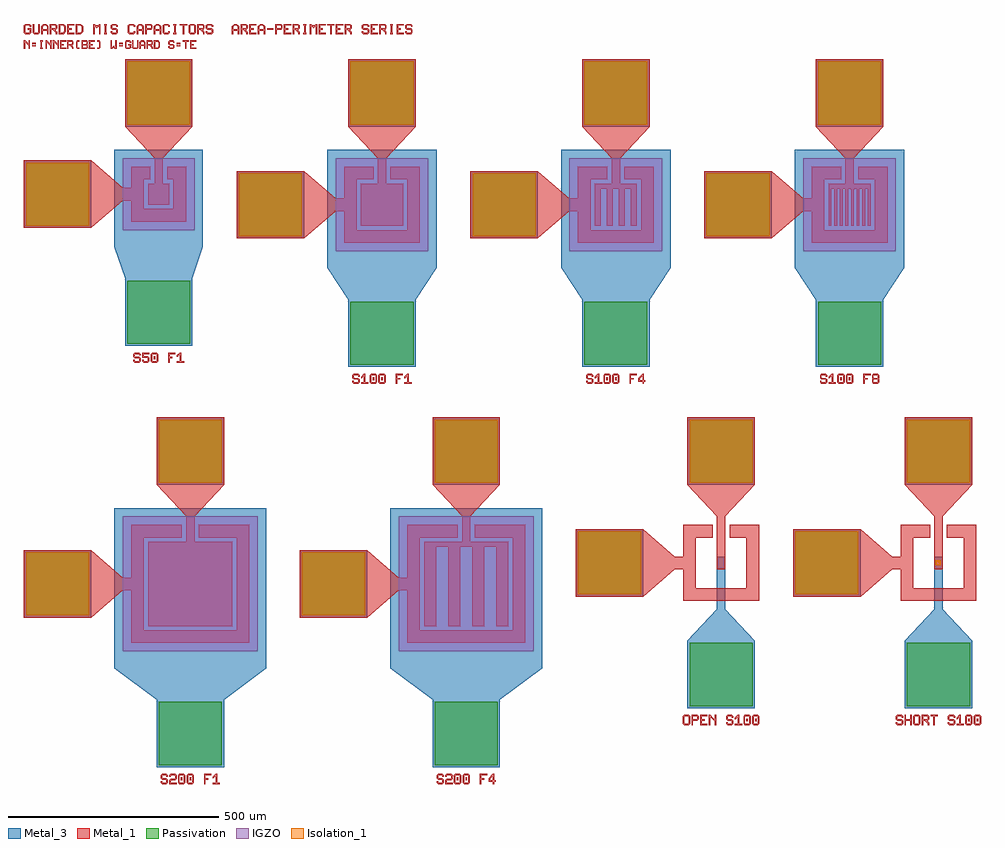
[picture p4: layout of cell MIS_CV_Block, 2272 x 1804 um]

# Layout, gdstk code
import gdstk
lib = gdstk.Library(unit=1e-6, precision=1e-09)
def R(c, l, rs):  # rectangles x0, y0, x1, y1
    for r in rs: c.add(gdstk.rectangle(r[:2], r[2:], *l))
def A(c, l, x, y, w, h, nx, ny, dx, dy):  # array of equal rectangles
    R(c, l, [(x+i*dx, y+j*dy, x+i*dx+w, y+j*dy+h) for i in range(nx) for j in range(ny)])
def P(c, l, *ps):  # polygons
    for p in ps: c.add(gdstk.Polygon(p, *l))
Metal_1 = (1, 0)
Isolation_1 = (2, 0)
IGZO = (4, 0)
Metal_3 = (5, 0)
Passivation = (6, 0)

misv2_s50_f1 = lib.new_cell('MISv2_S50_F1')
R(misv2_s50_f1, Metal_1, [(-12,-391.429,-8.571,-384.571), (-320,-80,-160,80), (-65,-65,65,-35), (-65,-35,-35,35), (35,-35,65,35), (-25,-25,25,25), (-85,-15,-65,15), (-10,25,10,85), (-65,35,-20,65), (20,35,65,65), (-80,160,80,320)])
P(misv2_s50_f1, Metal_1, [(-160,-80),(-160,80),(-85,15),(-85,-15)],
  [(-10,85),(-80,160),(80,160),(10,85)],
  [(-56.57,-400),(-59.999,-396.571),(-59.999,-393.143),(-56.57,-393.143),(-56.57,-394.857),(-54.856,-396.571),(-47.999,-396.571),(-46.285,-394.857),(-46.285,-391.429),(-47.999,-389.714),(-56.57,-389.714),(-59.999,-386.286),(-59.999,-379.429),(-56.57,-376),(-46.285,-376),(-42.856,-379.429),(-42.856,-382.857),(-46.285,-382.857),(-46.285,-381.143),(-47.999,-379.429),(-54.856,-379.429),(-56.57,-381.143),(-56.57,-384.571),(-54.856,-386.286),(-46.285,-386.286),(-42.856,-389.714),(-42.856,-396.571),(-46.285,-400)],
  [(-35.999,-400),(-39.428,-396.571),(-39.428,-393.143),(-35.999,-393.143),(-35.999,-394.857),(-34.285,-396.571),(-27.428,-396.571),(-25.714,-394.857),(-25.714,-389.714),(-27.428,-388),(-39.428,-388),(-39.428,-376),(-22.285,-376),(-22.285,-379.429),(-35.999,-379.429),(-35.999,-384.571),(-25.714,-384.571),(-22.285,-388),(-22.285,-396.571),(-25.714,-400)],
  [(-15.428,-400),(-18.857,-396.571),(-18.857,-379.429),(-15.428,-376),(-5.143,-376),(-1.714,-379.429),(-13.714,-379.429),(-15.428,-381.143),(-15.428,-394.857),(-13.714,-396.571),(-6.857,-396.571),(-5.143,-394.857),(-5.143,-381.143),(-6.857,-379.429),(-1.714,-379.429),(-1.714,-396.571),(-5.143,-400)],
  [(22.285,-400),(22.285,-376),(39.428,-376),(39.428,-379.429),(25.714,-379.429),(25.714,-386.286),(32.571,-386.286),(32.571,-389.714),(25.714,-389.714),(25.714,-400)],
  [(42.856,-400),(42.856,-396.571),(49.713,-396.571),(49.713,-382.857),(47.999,-382.857),(44.57,-386.286),(42.856,-386.286),(42.856,-382.857),(49.713,-376),(53.142,-376),(53.142,-396.571),(59.999,-396.571),(59.999,-400)])
R(misv2_s50_f1, Isolation_1, [(-315,-75,-165,75), (-75,165,75,315)])
R(misv2_s50_f1, IGZO, [(-85,-85,85,85)])
R(misv2_s50_f1, Metal_3, [(-80,-360,80,-200), (-105,-125,105,-105), (-105,-105,105,105), (-320,-80,-160,80), (-80,160,80,320)])
P(misv2_s50_f1, Metal_3, [(-80,-200),(-105,-125),(105,-125),(80,-200)])
R(misv2_s50_f1, Passivation, [(-75,-355,75,-205), (-315,-75,-165,75), (-75,165,75,315)])

misv2_s200_f4 = lib.new_cell('MISv2_S200_F4')
A(misv2_s200_f4, Metal_1, -100, -100, 28.571, 188, 4, 1, 57.143, 0)
R(misv2_s200_f4, Metal_1, [(-22.285,-466.429,-18.856,-459.571), (-1.714,-466.429,1.715,-459.571), (-140,-140,140,-110), (-140,-110,-110,110), (110,-110,140,110), (-395,-80,-235,80), (-160,-15,-140,15), (-100,88,100,100), (-10,100,10,160), (-140,110,-20,140), (20,110,140,140), (-80,235,80,395)])
P(misv2_s200_f4, Metal_1, [(-235,-80),(-235,80),(-160,15),(-160,-15)],
  [(-10,160),(-80,235),(80,235),(10,160)],
  [(-66.855,-475),(-70.284,-471.571),(-70.284,-468.143),(-66.855,-468.143),(-66.855,-469.857),(-65.141,-471.571),(-58.284,-471.571),(-56.57,-469.857),(-56.57,-466.429),(-58.284,-464.714),(-66.855,-464.714),(-70.284,-461.286),(-70.284,-454.429),(-66.855,-451),(-56.57,-451),(-53.141,-454.429),(-53.141,-457.857),(-56.57,-457.857),(-56.57,-456.143),(-58.284,-454.429),(-65.141,-454.429),(-66.855,-456.143),(-66.855,-459.571),(-65.141,-461.286),(-56.57,-461.286),(-53.141,-464.714),(-53.141,-471.571),(-56.57,-475)],
  [(-49.713,-475),(-49.713,-466.429),(-46.284,-463),(-37.713,-463),(-35.999,-461.286),(-35.999,-456.143),(-37.713,-454.429),(-44.57,-454.429),(-46.284,-456.143),(-46.284,-457.857),(-49.713,-457.857),(-49.713,-454.429),(-46.284,-451),(-35.999,-451),(-32.57,-454.429),(-32.57,-463),(-35.999,-466.429),(-44.57,-466.429),(-46.284,-468.143),(-46.284,-471.571),(-32.57,-471.571),(-32.57,-475)],
  [(-25.713,-475),(-29.142,-471.571),(-29.142,-454.429),(-25.713,-451),(-15.428,-451),(-11.999,-454.429),(-23.999,-454.429),(-25.713,-456.143),(-25.713,-469.857),(-23.999,-471.571),(-17.142,-471.571),(-15.428,-469.857),(-15.428,-456.143),(-17.142,-454.429),(-11.999,-454.429),(-11.999,-471.571),(-15.428,-475)],
  [(-5.142,-475),(-8.571,-471.571),(-8.571,-454.429),(-5.142,-451),(5.143,-451),(8.572,-454.429),(-3.428,-454.429),(-5.142,-456.143),(-5.142,-469.857),(-3.428,-471.571),(3.429,-471.571),(5.143,-469.857),(5.143,-456.143),(3.429,-454.429),(8.572,-454.429),(8.572,-471.571),(5.143,-475)],
  [(32.571,-475),(32.571,-451),(49.714,-451),(49.714,-454.429),(36,-454.429),(36,-461.286),(42.857,-461.286),(42.857,-464.714),(36,-464.714),(36,-475)],
  [(63.428,-475),(63.428,-469.857),(53.142,-469.857),(53.142,-466.429),(63.428,-466.429),(63.428,-457.857),(61.713,-457.857),(56.571,-463),(56.571,-466.429),(53.142,-466.429),(53.142,-461.286),(63.428,-451),(66.856,-451),(66.856,-466.429),(70.285,-466.429),(70.285,-469.857),(66.856,-469.857),(66.856,-475)])
R(misv2_s200_f4, Isolation_1, [(-390,-75,-240,75), (-75,240,75,390)])
R(misv2_s200_f4, IGZO, [(-160,-160,160,160)])
R(misv2_s200_f4, Metal_3, [(-80,-435,80,-275), (-180,-200,180,-180), (-180,-180,180,180), (-395,-80,-235,80), (-80,235,80,395)])
P(misv2_s200_f4, Metal_3, [(-80,-275),(-180,-200),(180,-200),(80,-275)])
R(misv2_s200_f4, Passivation, [(-75,-430,75,-280), (-390,-75,-240,75), (-75,240,75,390)])

misv2_s100_f1 = lib.new_cell('MISv2_S100_F1')
R(misv2_s100_f1, Metal_1, [(-22.285,-416.429,-18.856,-409.571), (-1.714,-416.429,1.715,-409.571), (-90,-90,90,-60), (-345,-80,-185,80), (-90,-60,-60,60), (60,-60,90,60), (-50,-50,50,50), (-110,-15,-90,15), (-10,50,10,110), (-90,60,-20,90), (20,60,90,90), (-80,185,80,345)])
P(misv2_s100_f1, Metal_1, [(-49.713,-425),(-49.713,-421.571),(-42.856,-421.571),(-42.856,-407.857),(-44.57,-407.857),(-47.999,-411.286),(-49.713,-411.286),(-49.713,-407.857),(-42.856,-401),(-39.427,-401),(-39.427,-421.571),(-32.57,-421.571),(-32.57,-425)],
  [(53.142,-425),(53.142,-421.571),(59.999,-421.571),(59.999,-407.857),(58.285,-407.857),(54.856,-411.286),(53.142,-411.286),(53.142,-407.857),(59.999,-401),(63.428,-401),(63.428,-421.571),(70.285,-421.571),(70.285,-425)],
  [(-185,-80),(-185,80),(-110,15),(-110,-15)],
  [(-10,110),(-80,185),(80,185),(10,110)],
  [(-66.855,-425),(-70.284,-421.571),(-70.284,-418.143),(-66.855,-418.143),(-66.855,-419.857),(-65.141,-421.571),(-58.284,-421.571),(-56.57,-419.857),(-56.57,-416.429),(-58.284,-414.714),(-66.855,-414.714),(-70.284,-411.286),(-70.284,-404.429),(-66.855,-401),(-56.57,-401),(-53.141,-404.429),(-53.141,-407.857),(-56.57,-407.857),(-56.57,-406.143),(-58.284,-404.429),(-65.141,-404.429),(-66.855,-406.143),(-66.855,-409.571),(-65.141,-411.286),(-56.57,-411.286),(-53.141,-414.714),(-53.141,-421.571),(-56.57,-425)],
  [(-25.713,-425),(-29.142,-421.571),(-29.142,-404.429),(-25.713,-401),(-15.428,-401),(-11.999,-404.429),(-23.999,-404.429),(-25.713,-406.143),(-25.713,-419.857),(-23.999,-421.571),(-17.142,-421.571),(-15.428,-419.857),(-15.428,-406.143),(-17.142,-404.429),(-11.999,-404.429),(-11.999,-421.571),(-15.428,-425)],
  [(-5.142,-425),(-8.571,-421.571),(-8.571,-404.429),(-5.142,-401),(5.143,-401),(8.572,-404.429),(-3.428,-404.429),(-5.142,-406.143),(-5.142,-419.857),(-3.428,-421.571),(3.429,-421.571),(5.143,-419.857),(5.143,-406.143),(3.429,-404.429),(8.572,-404.429),(8.572,-421.571),(5.143,-425)],
  [(32.571,-425),(32.571,-401),(49.714,-401),(49.714,-404.429),(36,-404.429),(36,-411.286),(42.857,-411.286),(42.857,-414.714),(36,-414.714),(36,-425)])
R(misv2_s100_f1, Isolation_1, [(-340,-75,-190,75), (-75,190,75,340)])
R(misv2_s100_f1, IGZO, [(-110,-110,110,110)])
R(misv2_s100_f1, Metal_3, [(-80,-385,80,-225), (-130,-150,130,-130), (-130,-130,130,130), (-345,-80,-185,80), (-80,185,80,345)])
P(misv2_s100_f1, Metal_3, [(-80,-225),(-130,-150),(130,-150),(80,-225)])
R(misv2_s100_f1, Passivation, [(-75,-380,75,-230), (-340,-75,-190,75), (-75,190,75,340)])

misv2_open_s100 = lib.new_cell('MISv2_OPEN_S100')
R(misv2_open_s100, Metal_1, [(59.998,-376.429,63.427,-369.571), (80.569,-376.429,83.998,-369.571), (-90,-90,90,-60), (-345,-80,-185,80), (-90,-60,-60,60), (60,-60,90,60), (-110,-15,-90,15), (-10,-15,10,15), (-10,0,10,110), (-90,60,-20,90), (20,60,90,90), (-80,185,80,345)])
P(misv2_open_s100, Metal_1, [(-29.143,-385),(-29.143,-361),(-25.714,-361),(-17.143,-369.571),(-15.429,-369.571),(-15.429,-361),(-12,-361),(-12,-385),(-15.429,-385),(-15.429,-376.429),(-24,-367.857),(-25.714,-367.857),(-25.714,-385)],
  [(-70.285,-385),(-70.285,-361),(-56.571,-361),(-53.142,-364.429),(-53.142,-371.286),(-56.571,-374.714),(-66.856,-374.714),(-66.856,-371.286),(-58.285,-371.286),(-56.571,-369.571),(-56.571,-366.143),(-58.285,-364.429),(-66.856,-364.429),(-66.856,-385)],
  [(-87.427,-385),(-90.856,-381.571),(-90.856,-364.429),(-87.427,-361),(-77.142,-361),(-73.713,-364.429),(-73.713,-373),(-77.142,-373),(-77.142,-366.143),(-78.856,-364.429),(-85.713,-364.429),(-87.427,-366.143),(-87.427,-379.857),(-85.713,-381.571),(-78.856,-381.571),(-77.142,-379.857),(-77.142,-373),(-73.713,-373),(-73.713,-381.571),(-77.142,-385)],
  [(-185,-80),(-185,80),(-110,15),(-110,-15)],
  [(-49.714,-385),(-49.714,-361),(-32.571,-361),(-32.571,-364.429),(-46.285,-364.429),(-46.285,-371.286),(-39.428,-371.286),(-39.428,-374.714),(-46.285,-374.714),(-46.285,-381.571),(-32.571,-381.571),(-32.571,-385)],
  [(-10,110),(-80,185),(80,185),(10,110)],
  [(15.428,-385),(11.999,-381.571),(11.999,-378.143),(15.428,-378.143),(15.428,-379.857),(17.142,-381.571),(23.999,-381.571),(25.713,-379.857),(25.713,-376.429),(23.999,-374.714),(15.428,-374.714),(11.999,-371.286),(11.999,-364.429),(15.428,-361),(25.713,-361),(29.142,-364.429),(29.142,-367.857),(25.713,-367.857),(25.713,-366.143),(23.999,-364.429),(17.142,-364.429),(15.428,-366.143),(15.428,-369.571),(17.142,-371.286),(25.713,-371.286),(29.142,-374.714),(29.142,-381.571),(25.713,-385)],
  [(32.57,-385),(32.57,-381.571),(39.427,-381.571),(39.427,-367.857),(37.713,-367.857),(34.284,-371.286),(32.57,-371.286),(32.57,-367.857),(39.427,-361),(42.856,-361),(42.856,-381.571),(49.713,-381.571),(49.713,-385)],
  [(56.57,-385),(53.141,-381.571),(53.141,-364.429),(56.57,-361),(66.855,-361),(70.284,-364.429),(58.284,-364.429),(56.57,-366.143),(56.57,-379.857),(58.284,-381.571),(65.141,-381.571),(66.855,-379.857),(66.855,-366.143),(65.141,-364.429),(70.284,-364.429),(70.284,-381.571),(66.855,-385)],
  [(77.141,-385),(73.712,-381.571),(73.712,-364.429),(77.141,-361),(87.426,-361),(90.855,-364.429),(78.855,-364.429),(77.141,-366.143),(77.141,-379.857),(78.855,-381.571),(85.712,-381.571),(87.426,-379.857),(87.426,-366.143),(85.712,-364.429),(90.855,-364.429),(90.855,-381.571),(87.426,-385)])
R(misv2_open_s100, Isolation_1, [(-340,-75,-190,75), (-75,190,75,340)])
R(misv2_open_s100, Metal_3, [(-80,-345,80,-185), (-10,-110,10,0), (-345,-80,-185,80), (-10,-15,10,15), (-80,185,80,345)])
P(misv2_open_s100, Metal_3, [(-80,-185),(-10,-110),(10,-110),(80,-185)])
R(misv2_open_s100, Passivation, [(-75,-340,75,-190), (-340,-75,-190,75), (-75,190,75,340)])

misv2_s100_f4 = lib.new_cell('MISv2_S100_F4')
R(misv2_s100_f4, Metal_1, [(-22.285,-416.429,-18.856,-409.571), (-1.714,-416.429,1.715,-409.571), (-90,-90,90,-60), (-345,-80,-185,80), (-90,-60,-60,60), (60,-60,90,60), (-50,-50,-35.714,38), (-21.429,-50,-7.143,38), (7.143,-50,21.429,38), (35.714,-50,50,38), (-110,-15,-90,15), (-50,38,50,50), (-10,50,10,110), (-90,60,-20,90), (20,60,90,90), (-80,185,80,345)])
P(misv2_s100_f4, Metal_1, [(-49.713,-425),(-49.713,-421.571),(-42.856,-421.571),(-42.856,-407.857),(-44.57,-407.857),(-47.999,-411.286),(-49.713,-411.286),(-49.713,-407.857),(-42.856,-401),(-39.427,-401),(-39.427,-421.571),(-32.57,-421.571),(-32.57,-425)],
  [(-185,-80),(-185,80),(-110,15),(-110,-15)],
  [(-10,110),(-80,185),(80,185),(10,110)],
  [(-66.855,-425),(-70.284,-421.571),(-70.284,-418.143),(-66.855,-418.143),(-66.855,-419.857),(-65.141,-421.571),(-58.284,-421.571),(-56.57,-419.857),(-56.57,-416.429),(-58.284,-414.714),(-66.855,-414.714),(-70.284,-411.286),(-70.284,-404.429),(-66.855,-401),(-56.57,-401),(-53.141,-404.429),(-53.141,-407.857),(-56.57,-407.857),(-56.57,-406.143),(-58.284,-404.429),(-65.141,-404.429),(-66.855,-406.143),(-66.855,-409.571),(-65.141,-411.286),(-56.57,-411.286),(-53.141,-414.714),(-53.141,-421.571),(-56.57,-425)],
  [(-25.713,-425),(-29.142,-421.571),(-29.142,-404.429),(-25.713,-401),(-15.428,-401),(-11.999,-404.429),(-23.999,-404.429),(-25.713,-406.143),(-25.713,-419.857),(-23.999,-421.571),(-17.142,-421.571),(-15.428,-419.857),(-15.428,-406.143),(-17.142,-404.429),(-11.999,-404.429),(-11.999,-421.571),(-15.428,-425)],
  [(-5.142,-425),(-8.571,-421.571),(-8.571,-404.429),(-5.142,-401),(5.143,-401),(8.572,-404.429),(-3.428,-404.429),(-5.142,-406.143),(-5.142,-419.857),(-3.428,-421.571),(3.429,-421.571),(5.143,-419.857),(5.143,-406.143),(3.429,-404.429),(8.572,-404.429),(8.572,-421.571),(5.143,-425)],
  [(32.571,-425),(32.571,-401),(49.714,-401),(49.714,-404.429),(36,-404.429),(36,-411.286),(42.857,-411.286),(42.857,-414.714),(36,-414.714),(36,-425)],
  [(63.428,-425),(63.428,-419.857),(53.142,-419.857),(53.142,-416.429),(63.428,-416.429),(63.428,-407.857),(61.713,-407.857),(56.571,-413),(56.571,-416.429),(53.142,-416.429),(53.142,-411.286),(63.428,-401),(66.856,-401),(66.856,-416.429),(70.285,-416.429),(70.285,-419.857),(66.856,-419.857),(66.856,-425)])
R(misv2_s100_f4, Isolation_1, [(-340,-75,-190,75), (-75,190,75,340)])
R(misv2_s100_f4, IGZO, [(-110,-110,110,110)])
R(misv2_s100_f4, Metal_3, [(-80,-385,80,-225), (-130,-150,130,-130), (-130,-130,130,130), (-345,-80,-185,80), (-80,185,80,345)])
P(misv2_s100_f4, Metal_3, [(-80,-225),(-130,-150),(130,-150),(80,-225)])
R(misv2_s100_f4, Passivation, [(-75,-380,75,-230), (-340,-75,-190,75), (-75,190,75,340)])

misv2_s100_f8 = lib.new_cell('MISv2_S100_F8')
R(misv2_s100_f8, Metal_1, [(-22.285,-416.429,-18.856,-409.571), (-1.714,-416.429,1.715,-409.571), (-90,-90,90,-60), (-345,-80,-185,80), (-90,-60,-60,60), (60,-60,90,60), (-50,-50,-43.333,38), (-36.667,-50,-30,38), (-23.333,-50,-16.667,38), (-10,-50,-3.333,38), (3.333,-50,10,38), (16.667,-50,23.333,38), (30,-50,36.667,38), (43.333,-50,50,38), (-110,-15,-90,15), (-50,38,50,50), (-10,50,10,110), (-90,60,-20,90), (20,60,90,90), (-80,185,80,345)])
P(misv2_s100_f8, Metal_1, [(-49.713,-425),(-49.713,-421.571),(-42.856,-421.571),(-42.856,-407.857),(-44.57,-407.857),(-47.999,-411.286),(-49.713,-411.286),(-49.713,-407.857),(-42.856,-401),(-39.427,-401),(-39.427,-421.571),(-32.57,-421.571),(-32.57,-425)],
  [(-185,-80),(-185,80),(-110,15),(-110,-15)],
  [(-10,110),(-80,185),(80,185),(10,110)],
  [(-66.855,-425),(-70.284,-421.571),(-70.284,-418.143),(-66.855,-418.143),(-66.855,-419.857),(-65.141,-421.571),(-58.284,-421.571),(-56.57,-419.857),(-56.57,-416.429),(-58.284,-414.714),(-66.855,-414.714),(-70.284,-411.286),(-70.284,-404.429),(-66.855,-401),(-56.57,-401),(-53.141,-404.429),(-53.141,-407.857),(-56.57,-407.857),(-56.57,-406.143),(-58.284,-404.429),(-65.141,-404.429),(-66.855,-406.143),(-66.855,-409.571),(-65.141,-411.286),(-56.57,-411.286),(-53.141,-414.714),(-53.141,-421.571),(-56.57,-425)],
  [(-25.713,-425),(-29.142,-421.571),(-29.142,-404.429),(-25.713,-401),(-15.428,-401),(-11.999,-404.429),(-23.999,-404.429),(-25.713,-406.143),(-25.713,-419.857),(-23.999,-421.571),(-17.142,-421.571),(-15.428,-419.857),(-15.428,-406.143),(-17.142,-404.429),(-11.999,-404.429),(-11.999,-421.571),(-15.428,-425)],
  [(-5.142,-425),(-8.571,-421.571),(-8.571,-404.429),(-5.142,-401),(5.143,-401),(8.572,-404.429),(-3.428,-404.429),(-5.142,-406.143),(-5.142,-419.857),(-3.428,-421.571),(3.429,-421.571),(5.143,-419.857),(5.143,-406.143),(3.429,-404.429),(8.572,-404.429),(8.572,-421.571),(5.143,-425)],
  [(32.571,-425),(32.571,-401),(49.714,-401),(49.714,-404.429),(36,-404.429),(36,-411.286),(42.857,-411.286),(42.857,-414.714),(36,-414.714),(36,-425)],
  [(56.571,-425),(53.142,-421.571),(53.142,-414.714),(54.856,-413),(53.142,-411.286),(53.142,-404.429),(56.571,-401),(66.856,-401),(70.285,-404.429),(58.285,-404.429),(56.571,-406.143),(56.571,-409.571),(58.285,-411.286),(65.142,-411.286),(66.856,-409.571),(66.856,-406.143),(65.142,-404.429),(70.285,-404.429),(70.285,-411.286),(68.571,-413),(70.285,-414.714),(58.285,-414.714),(56.571,-416.429),(56.571,-419.857),(58.285,-421.571),(65.142,-421.571),(66.856,-419.857),(66.856,-416.429),(65.142,-414.714),(70.285,-414.714),(70.285,-421.571),(66.856,-425)])
R(misv2_s100_f8, Isolation_1, [(-340,-75,-190,75), (-75,190,75,340)])
R(misv2_s100_f8, IGZO, [(-110,-110,110,110)])
R(misv2_s100_f8, Metal_3, [(-80,-385,80,-225), (-130,-150,130,-130), (-130,-130,130,130), (-345,-80,-185,80), (-80,185,80,345)])
P(misv2_s100_f8, Metal_3, [(-80,-225),(-130,-150),(130,-150),(80,-225)])
R(misv2_s100_f8, Passivation, [(-75,-380,75,-230), (-340,-75,-190,75), (-75,190,75,340)])

misv2_s200_f1 = lib.new_cell('MISv2_S200_F1')
R(misv2_s200_f1, Metal_1, [(-22.285,-466.429,-18.856,-459.571), (-1.714,-466.429,1.715,-459.571), (-140,-140,140,-110), (-140,-110,-110,110), (110,-110,140,110), (-100,-100,100,100), (-395,-80,-235,80), (-160,-15,-140,15), (-10,100,10,160), (-140,110,-20,140), (20,110,140,140), (-80,235,80,395)])
P(misv2_s200_f1, Metal_1, [(-235,-80),(-235,80),(-160,15),(-160,-15)],
  [(-10,160),(-80,235),(80,235),(10,160)],
  [(-66.855,-475),(-70.284,-471.571),(-70.284,-468.143),(-66.855,-468.143),(-66.855,-469.857),(-65.141,-471.571),(-58.284,-471.571),(-56.57,-469.857),(-56.57,-466.429),(-58.284,-464.714),(-66.855,-464.714),(-70.284,-461.286),(-70.284,-454.429),(-66.855,-451),(-56.57,-451),(-53.141,-454.429),(-53.141,-457.857),(-56.57,-457.857),(-56.57,-456.143),(-58.284,-454.429),(-65.141,-454.429),(-66.855,-456.143),(-66.855,-459.571),(-65.141,-461.286),(-56.57,-461.286),(-53.141,-464.714),(-53.141,-471.571),(-56.57,-475)],
  [(-49.713,-475),(-49.713,-466.429),(-46.284,-463),(-37.713,-463),(-35.999,-461.286),(-35.999,-456.143),(-37.713,-454.429),(-44.57,-454.429),(-46.284,-456.143),(-46.284,-457.857),(-49.713,-457.857),(-49.713,-454.429),(-46.284,-451),(-35.999,-451),(-32.57,-454.429),(-32.57,-463),(-35.999,-466.429),(-44.57,-466.429),(-46.284,-468.143),(-46.284,-471.571),(-32.57,-471.571),(-32.57,-475)],
  [(-25.713,-475),(-29.142,-471.571),(-29.142,-454.429),(-25.713,-451),(-15.428,-451),(-11.999,-454.429),(-23.999,-454.429),(-25.713,-456.143),(-25.713,-469.857),(-23.999,-471.571),(-17.142,-471.571),(-15.428,-469.857),(-15.428,-456.143),(-17.142,-454.429),(-11.999,-454.429),(-11.999,-471.571),(-15.428,-475)],
  [(-5.142,-475),(-8.571,-471.571),(-8.571,-454.429),(-5.142,-451),(5.143,-451),(8.572,-454.429),(-3.428,-454.429),(-5.142,-456.143),(-5.142,-469.857),(-3.428,-471.571),(3.429,-471.571),(5.143,-469.857),(5.143,-456.143),(3.429,-454.429),(8.572,-454.429),(8.572,-471.571),(5.143,-475)],
  [(32.571,-475),(32.571,-451),(49.714,-451),(49.714,-454.429),(36,-454.429),(36,-461.286),(42.857,-461.286),(42.857,-464.714),(36,-464.714),(36,-475)],
  [(53.142,-475),(53.142,-471.571),(59.999,-471.571),(59.999,-457.857),(58.285,-457.857),(54.856,-461.286),(53.142,-461.286),(53.142,-457.857),(59.999,-451),(63.428,-451),(63.428,-471.571),(70.285,-471.571),(70.285,-475)])
R(misv2_s200_f1, Isolation_1, [(-390,-75,-240,75), (-75,240,75,390)])
R(misv2_s200_f1, IGZO, [(-160,-160,160,160)])
R(misv2_s200_f1, Metal_3, [(-80,-435,80,-275), (-180,-200,180,-180), (-180,-180,180,180), (-395,-80,-235,80), (-80,235,80,395)])
P(misv2_s200_f1, Metal_3, [(-80,-275),(-180,-200),(180,-200),(80,-275)])
R(misv2_s200_f1, Passivation, [(-75,-430,75,-280), (-390,-75,-240,75), (-75,240,75,390)])

misv2_short_s100 = lib.new_cell('MISv2_SHORT_S100')
R(misv2_short_s100, Metal_1, [(70.284,-376.429,73.713,-369.571), (90.855,-376.429,94.284,-369.571), (-90,-90,90,-60), (-345,-80,-185,80), (-90,-60,-60,60), (60,-60,90,60), (-110,-15,-90,15), (-10,-15,10,15), (-10,0,10,110), (-90,60,-20,90), (20,60,90,90), (-80,185,80,345)])
P(misv2_short_s100, Metal_1, [(-56.57,-385),(-59.999,-381.571),(-59.999,-364.429),(-56.57,-361),(-46.285,-361),(-42.856,-364.429),(-42.856,-373),(-46.285,-373),(-46.285,-366.143),(-47.999,-364.429),(-54.856,-364.429),(-56.57,-366.143),(-56.57,-379.857),(-54.856,-381.571),(-47.999,-381.571),(-46.285,-379.857),(-46.285,-373),(-42.856,-373),(-42.856,-381.571),(-46.285,-385)],
  [(-185,-80),(-185,80),(-110,15),(-110,-15)],
  [(-97.712,-385),(-101.141,-381.571),(-101.141,-378.143),(-97.712,-378.143),(-97.712,-379.857),(-95.998,-381.571),(-89.141,-381.571),(-87.427,-379.857),(-87.427,-376.429),(-89.141,-374.714),(-97.712,-374.714),(-101.141,-371.286),(-101.141,-364.429),(-97.712,-361),(-87.427,-361),(-83.998,-364.429),(-83.998,-367.857),(-87.427,-367.857),(-87.427,-366.143),(-89.141,-364.429),(-95.998,-364.429),(-97.712,-366.143),(-97.712,-369.571),(-95.998,-371.286),(-87.427,-371.286),(-83.998,-374.714),(-83.998,-381.571),(-87.427,-385)],
  [(25.714,-385),(22.285,-381.571),(22.285,-378.143),(25.714,-378.143),(25.714,-379.857),(27.428,-381.571),(34.285,-381.571),(35.999,-379.857),(35.999,-376.429),(34.285,-374.714),(25.714,-374.714),(22.285,-371.286),(22.285,-364.429),(25.714,-361),(35.999,-361),(39.428,-364.429),(39.428,-367.857),(35.999,-367.857),(35.999,-366.143),(34.285,-364.429),(27.428,-364.429),(25.714,-366.143),(25.714,-369.571),(27.428,-371.286),(35.999,-371.286),(39.428,-374.714),(39.428,-381.571),(35.999,-385)],
  [(-10,110),(-80,185),(80,185),(10,110)],
  [(-80.57,-385),(-80.57,-361),(-77.141,-361),(-77.141,-371.286),(-66.856,-371.286),(-66.856,-361),(-63.427,-361),(-63.427,-385),(-66.856,-385),(-66.856,-374.714),(-77.141,-374.714),(-77.141,-385)],
  [(-39.428,-385),(-39.428,-361),(-25.714,-361),(-22.285,-364.429),(-35.999,-364.429),(-35.999,-371.286),(-27.428,-371.286),(-25.714,-369.571),(-25.714,-366.143),(-27.428,-364.429),(-22.285,-364.429),(-22.285,-371.286),(-25.714,-374.714),(-25.714,-376.429),(-22.285,-379.857),(-22.285,-385),(-25.714,-385),(-25.714,-381.571),(-32.571,-374.714),(-35.999,-374.714),(-35.999,-385)],
  [(-12,-385),(-12,-364.429),(-18.857,-364.429),(-18.857,-361),(-1.714,-361),(-1.714,-364.429),(-8.571,-364.429),(-8.571,-385)],
  [(42.856,-385),(42.856,-381.571),(49.713,-381.571),(49.713,-367.857),(47.999,-367.857),(44.57,-371.286),(42.856,-371.286),(42.856,-367.857),(49.713,-361),(53.142,-361),(53.142,-381.571),(59.999,-381.571),(59.999,-385)],
  [(66.856,-385),(63.427,-381.571),(63.427,-364.429),(66.856,-361),(77.141,-361),(80.57,-364.429),(68.57,-364.429),(66.856,-366.143),(66.856,-379.857),(68.57,-381.571),(75.427,-381.571),(77.141,-379.857),(77.141,-366.143),(75.427,-364.429),(80.57,-364.429),(80.57,-381.571),(77.141,-385)],
  [(87.427,-385),(83.998,-381.571),(83.998,-364.429),(87.427,-361),(97.712,-361),(101.141,-364.429),(89.141,-364.429),(87.427,-366.143),(87.427,-379.857),(89.141,-381.571),(95.998,-381.571),(97.712,-379.857),(97.712,-366.143),(95.998,-364.429),(101.141,-364.429),(101.141,-381.571),(97.712,-385)])
R(misv2_short_s100, Isolation_1, [(-340,-75,-190,75), (-6,-6,6,6), (-75,190,75,340)])
R(misv2_short_s100, Metal_3, [(-80,-345,80,-185), (-10,-110,10,0), (-345,-80,-185,80), (-10,-15,10,15), (-80,185,80,345)])
P(misv2_short_s100, Metal_3, [(-80,-185),(-10,-110),(10,-110),(80,-185)])
R(misv2_short_s100, Passivation, [(-75,-340,75,-190), (-340,-75,-190,75), (-75,190,75,340)])

mis_cv_block = lib.new_cell('MIS_CV_Block')
R(mis_cv_block, Metal_1, [(20,30.714,28.572,33.571), (225.716,30.714,234.288,33.571), (362.86,30.714,371.432,33.571), (20,36.429,28.572,39.286), (225.716,36.429,234.288,39.286), (362.86,36.429,371.432,39.286), (577.702,70.286,591.417,73.714)])
P(mis_cv_block, Metal_1, [(3.429,60),(0,63.429),(0,80.571),(3.429,84),(13.714,84),(17.143,80.571),(17.143,77.143),(13.714,77.143),(13.714,78.857),(12,80.571),(5.143,80.571),(3.429,78.857),(3.429,65.143),(5.143,63.429),(12,63.429),(13.714,65.143),(13.714,70.286),(8.571,70.286),(8.571,73.714),(17.143,73.714),(17.143,63.429),(13.714,60)],
  [(24,60),(20.571,63.429),(20.571,84),(24,84),(24,65.143),(25.714,63.429),(32.571,63.429),(34.285,65.143),(34.285,84),(37.714,84),(37.714,63.429),(34.285,60)],
  [(164.568,60),(164.568,84),(167.997,84),(171.425,80.571),(174.854,80.571),(178.282,84),(181.711,84),(181.711,60),(178.282,60),(178.282,77.143),(176.568,77.143),(173.139,73.714),(169.711,77.143),(167.997,77.143),(167.997,60)],
  [(678.843,60),(678.843,84),(682.272,84),(685.7,80.571),(689.129,80.571),(692.557,84),(695.986,84),(695.986,60),(692.557,60),(692.557,77.143),(690.843,77.143),(687.414,73.714),(683.986,77.143),(682.272,77.143),(682.272,60)],
  [(190.282,60),(190.282,63.429),(191.996,63.429),(191.996,80.571),(190.282,80.571),(190.282,84),(197.139,84),(197.139,80.571),(195.425,80.571),(195.425,63.429),(197.139,63.429),(197.139,60)],
  [(354.85,60),(354.85,63.429),(356.564,63.429),(356.564,80.571),(354.85,80.571),(354.85,84),(361.707,84),(361.707,80.571),(359.993,80.571),(359.993,63.429),(361.707,63.429),(361.707,60)],
  [(663.415,60),(663.415,63.429),(665.129,63.429),(665.129,80.571),(663.415,80.571),(663.415,84),(670.272,84),(670.272,80.571),(668.558,80.571),(668.558,63.429),(670.272,63.429),(670.272,60)],
  [(869.125,60),(869.125,63.429),(870.839,63.429),(870.839,80.571),(869.125,80.571),(869.125,84),(875.982,84),(875.982,80.571),(874.268,80.571),(874.268,63.429),(875.982,63.429),(875.982,60)],
  [(308.574,25),(308.574,45),(318.574,45),(321.431,42.143),(311.431,42.143),(311.431,27.857),(317.145,27.857),(320.003,30.714),(320.003,39.286),(317.145,42.143),(321.431,42.143),(322.86,40.714),(322.86,29.286),(318.574,25)],
  [(137.144,25),(137.144,45),(148.573,45),(151.43,42.143),(140.001,42.143),(140.001,36.429),(147.144,36.429),(148.573,37.857),(148.573,40.714),(147.144,42.143),(151.43,42.143),(151.43,36.429),(150.001,35),(151.43,33.571),(140.001,33.571),(140.001,27.857),(147.144,27.857),(148.573,29.286),(148.573,32.143),(147.144,33.571),(151.43,33.571),(151.43,27.857),(148.573,25)],
  [(41.142,60),(41.142,78.857),(46.285,84),(53.142,84),(56.571,80.571),(47.999,80.571),(44.571,77.143),(44.571,72),(54.856,72),(54.856,77.143),(51.428,80.571),(56.571,80.571),(58.285,78.857),(58.285,60),(54.856,60),(54.856,68.571),(44.571,68.571),(44.571,60)],
  [(267.423,60),(267.423,78.857),(272.566,84),(279.423,84),(282.852,80.571),(274.28,80.571),(270.852,77.143),(270.852,72),(281.137,72),(281.137,77.143),(277.709,80.571),(282.852,80.571),(284.566,78.857),(284.566,60),(281.137,60),(281.137,68.571),(270.852,68.571),(270.852,60)],
  [(308.565,60),(308.565,78.857),(313.708,84),(320.565,84),(323.994,80.571),(315.422,80.571),(311.994,77.143),(311.994,72),(322.279,72),(322.279,77.143),(318.851,80.571),(323.994,80.571),(325.708,78.857),(325.708,60),(322.279,60),(322.279,68.571),(311.994,68.571),(311.994,60)],
  [(493.704,60),(493.704,78.857),(498.847,84),(505.704,84),(509.133,80.571),(500.561,80.571),(497.133,77.143),(497.133,72),(507.418,72),(507.418,77.143),(503.99,80.571),(509.133,80.571),(510.847,78.857),(510.847,60),(507.418,60),(507.418,68.571),(497.133,68.571),(497.133,60)],
  [(555.417,60),(555.417,78.857),(560.56,84),(567.417,84),(570.846,80.571),(562.274,80.571),(558.846,77.143),(558.846,72),(569.131,72),(569.131,77.143),(565.703,80.571),(570.846,80.571),(572.56,78.857),(572.56,60),(569.131,60),(569.131,68.571),(558.846,68.571),(558.846,60)],
  [(61.713,60),(61.713,84),(75.427,84),(78.856,80.571),(65.142,80.571),(65.142,73.714),(73.713,73.714),(75.427,75.429),(75.427,78.857),(73.713,80.571),(78.856,80.571),(78.856,73.714),(75.427,70.286),(75.427,68.571),(78.856,65.143),(78.856,60),(75.427,60),(75.427,63.429),(68.57,70.286),(65.142,70.286),(65.142,60)],
  [(411.42,60),(411.42,84),(425.134,84),(428.563,80.571),(414.849,80.571),(414.849,73.714),(423.42,73.714),(425.134,75.429),(425.134,78.857),(423.42,80.571),(428.563,80.571),(428.563,73.714),(425.134,70.286),(425.134,68.571),(428.563,65.143),(428.563,60),(425.134,60),(425.134,63.429),(418.277,70.286),(414.849,70.286),(414.849,60)],
  [(514.275,60),(514.275,84),(527.989,84),(531.418,80.571),(517.704,80.571),(517.704,73.714),(526.275,73.714),(527.989,75.429),(527.989,78.857),(526.275,80.571),(531.418,80.571),(531.418,73.714),(527.989,70.286),(527.989,68.571),(531.418,65.143),(531.418,60),(527.989,60),(527.989,63.429),(521.132,70.286),(517.704,70.286),(517.704,60)],
  [(637.701,60),(637.701,84),(651.415,84),(654.844,80.571),(641.13,80.571),(641.13,73.714),(649.701,73.714),(651.415,75.429),(651.415,78.857),(649.701,80.571),(654.844,80.571),(654.844,73.714),(651.415,70.286),(651.415,68.571),(654.844,65.143),(654.844,60),(651.415,60),(651.415,63.429),(644.558,70.286),(641.13,70.286),(641.13,60)],
  [(761.127,60),(761.127,84),(774.841,84),(778.27,80.571),(764.556,80.571),(764.556,73.714),(773.127,73.714),(774.841,75.429),(774.841,78.857),(773.127,80.571),(778.27,80.571),(778.27,73.714),(774.841,70.286),(774.841,68.571),(778.27,65.143),(778.27,60),(774.841,60),(774.841,63.429),(767.984,70.286),(764.556,70.286),(764.556,60)],
  [(843.411,60),(843.411,84),(857.125,84),(860.554,80.571),(846.84,80.571),(846.84,73.714),(855.411,73.714),(857.125,75.429),(857.125,78.857),(855.411,80.571),(860.554,80.571),(860.554,73.714),(857.125,70.286),(857.125,68.571),(860.554,65.143),(860.554,60),(857.125,60),(857.125,63.429),(850.268,70.286),(846.84,70.286),(846.84,60)],
  [(102.855,60),(102.855,84),(119.998,84),(119.998,80.571),(106.284,80.571),(106.284,73.714),(113.141,73.714),(113.141,70.286),(106.284,70.286),(106.284,63.429),(119.998,63.429),(119.998,60)],
  [(534.846,60),(534.846,84),(551.989,84),(551.989,80.571),(538.275,80.571),(538.275,73.714),(545.132,73.714),(545.132,70.286),(538.275,70.286),(538.275,63.429),(551.989,63.429),(551.989,60)],
  [(617.13,60),(617.13,84),(634.273,84),(634.273,80.571),(620.559,80.571),(620.559,73.714),(627.416,73.714),(627.416,70.286),(620.559,70.286),(620.559,63.429),(634.273,63.429),(634.273,60)],
  [(699.414,60),(699.414,84),(716.557,84),(716.557,80.571),(702.843,80.571),(702.843,73.714),(709.7,73.714),(709.7,70.286),(702.843,70.286),(702.843,63.429),(716.557,63.429),(716.557,60)],
  [(740.556,60),(740.556,84),(757.699,84),(757.699,80.571),(743.985,80.571),(743.985,73.714),(750.842,73.714),(750.842,70.286),(743.985,70.286),(743.985,63.429),(757.699,63.429),(757.699,60)],
  [(822.84,60),(822.84,84),(839.983,84),(839.983,80.571),(826.269,80.571),(826.269,73.714),(833.126,73.714),(833.126,70.286),(826.269,70.286),(826.269,63.429),(839.983,63.429),(839.983,60)],
  [(884.553,60),(884.553,84),(901.696,84),(901.696,80.571),(887.982,80.571),(887.982,73.714),(894.839,73.714),(894.839,70.286),(887.982,70.286),(887.982,63.429),(901.696,63.429),(901.696,60)],
  [(82.284,60),(82.284,84),(94.284,84),(97.713,80.571),(85.713,80.571),(85.713,63.429),(92.57,63.429),(95.998,66.857),(95.998,77.143),(92.57,80.571),(97.713,80.571),(99.427,78.857),(99.427,65.143),(94.284,60)],
  [(123.426,60),(123.426,84),(135.426,84),(138.855,80.571),(126.855,80.571),(126.855,63.429),(133.712,63.429),(137.14,66.857),(137.14,77.143),(133.712,80.571),(138.855,80.571),(140.569,78.857),(140.569,65.143),(135.426,60)],
  [(209.139,60),(205.71,63.429),(205.71,66.857),(209.139,66.857),(209.139,65.143),(210.853,63.429),(217.71,63.429),(219.424,65.143),(219.424,68.571),(217.71,70.286),(209.139,70.286),(205.71,73.714),(205.71,80.571),(209.139,84),(219.424,84),(222.853,80.571),(222.853,77.143),(219.424,77.143),(219.424,78.857),(217.71,80.571),(210.853,80.571),(209.139,78.857),(209.139,75.429),(210.853,73.714),(219.424,73.714),(222.853,70.286),(222.853,63.429),(219.424,60)],
  [(435.42,60),(431.991,63.429),(431.991,66.857),(435.42,66.857),(435.42,65.143),(437.134,63.429),(443.991,63.429),(445.705,65.143),(445.705,68.571),(443.991,70.286),(435.42,70.286),(431.991,73.714),(431.991,80.571),(435.42,84),(445.705,84),(449.134,80.571),(449.134,77.143),(445.705,77.143),(445.705,78.857),(443.991,80.571),(437.134,80.571),(435.42,78.857),(435.42,75.429),(437.134,73.714),(445.705,73.714),(449.134,70.286),(449.134,63.429),(445.705,60)],
  [(805.698,60),(802.269,63.429),(802.269,66.857),(805.698,66.857),(805.698,65.143),(807.412,63.429),(814.269,63.429),(815.983,65.143),(815.983,68.571),(814.269,70.286),(805.698,70.286),(802.269,73.714),(802.269,80.571),(805.698,84),(815.983,84),(819.412,80.571),(819.412,77.143),(815.983,77.143),(815.983,78.857),(814.269,80.571),(807.412,80.571),(805.698,78.857),(805.698,75.429),(807.412,73.714),(815.983,73.714),(819.412,70.286),(819.412,63.429),(815.983,60)],
  [(908.553,60),(905.124,63.429),(905.124,66.857),(908.553,66.857),(908.553,65.143),(910.267,63.429),(917.124,63.429),(918.838,65.143),(918.838,68.571),(917.124,70.286),(908.553,70.286),(905.124,73.714),(905.124,80.571),(908.553,84),(918.838,84),(922.267,80.571),(922.267,77.143),(918.838,77.143),(918.838,78.857),(917.124,80.571),(910.267,80.571),(908.553,78.857),(908.553,75.429),(910.267,73.714),(918.838,73.714),(922.267,70.286),(922.267,63.429),(918.838,60)],
  [(250.281,60),(246.852,63.429),(246.852,80.571),(250.281,84),(260.566,84),(263.995,80.571),(263.995,77.143),(260.566,77.143),(260.566,78.857),(258.852,80.571),(251.995,80.571),(250.281,78.857),(250.281,65.143),(251.995,63.429),(258.852,63.429),(260.566,65.143),(260.566,66.857),(263.995,66.857),(263.995,63.429),(260.566,60)],
  [(332.565,60),(329.136,63.429),(329.136,80.571),(332.565,84),(342.85,84),(346.279,80.571),(346.279,77.143),(342.85,77.143),(342.85,78.857),(341.136,80.571),(334.279,80.571),(332.565,78.857),(332.565,65.143),(334.279,63.429),(341.136,63.429),(342.85,65.143),(342.85,66.857),(346.279,66.857),(346.279,63.429),(342.85,60)],
  [(287.994,60),(287.994,84),(301.708,84),(305.137,80.571),(305.137,73.714),(301.708,70.286),(291.423,70.286),(291.423,73.714),(299.994,73.714),(301.708,75.429),(301.708,78.857),(299.994,80.571),(291.423,80.571),(291.423,60)],
  [(596.559,60),(596.559,84),(610.273,84),(613.702,80.571),(613.702,73.714),(610.273,70.286),(599.988,70.286),(599.988,73.714),(608.559,73.714),(610.273,75.429),(610.273,78.857),(608.559,80.571),(599.988,80.571),(599.988,60)],
  [(102.858,25),(102.858,45),(114.287,45),(117.144,42.143),(105.715,42.143),(105.715,36.429),(112.858,36.429),(114.287,37.857),(114.287,40.714),(112.858,42.143),(117.144,42.143),(117.144,36.429),(114.287,33.571),(114.287,32.143),(117.144,29.286),(117.144,25),(114.287,25),(114.287,27.857),(108.572,33.571),(105.715,33.571),(105.715,25)],
  [(291.431,25),(291.431,45),(302.86,45),(305.717,42.143),(294.288,42.143),(294.288,36.429),(301.431,36.429),(302.86,37.857),(302.86,40.714),(301.431,42.143),(305.717,42.143),(305.717,36.429),(302.86,33.571),(302.86,32.143),(305.717,29.286),(305.717,25),(302.86,25),(302.86,27.857),(297.145,33.571),(294.288,33.571),(294.288,25)],
  [(377.135,60),(377.135,80.571),(370.278,80.571),(370.278,84),(387.421,84),(387.421,80.571),(380.564,80.571),(380.564,60)],
  [(726.842,60),(726.842,80.571),(719.985,80.571),(719.985,84),(737.128,84),(737.128,80.571),(730.271,80.571),(730.271,60)],
  [(394.278,60),(390.849,63.429),(390.849,80.571),(394.278,84),(404.563,84),(407.992,80.571),(407.992,72),(404.563,72),(404.563,78.857),(402.849,80.571),(395.992,80.571),(394.278,78.857),(394.278,65.143),(395.992,63.429),(402.849,63.429),(404.563,65.143),(404.563,72),(407.992,72),(407.992,63.429),(404.563,60)],
  [(0,25),(0,45),(2.857,45),(10,37.857),(11.429,37.857),(11.429,45),(14.286,45),(14.286,25),(11.429,25),(11.429,32.143),(4.286,39.286),(2.857,39.286),(2.857,25)],
  [(51.429,25),(51.429,45),(54.286,45),(61.429,37.857),(62.858,37.857),(62.858,45),(65.715,45),(65.715,25),(62.858,25),(62.858,32.143),(55.715,39.286),(54.286,39.286),(54.286,25)],
  [(68.572,25),(68.572,45),(71.429,45),(78.572,37.857),(80.001,37.857),(80.001,45),(82.858,45),(82.858,25),(80.001,25),(80.001,32.143),(72.858,39.286),(71.429,39.286),(71.429,25)],
  [(38.572,25),(38.572,27.857),(40,27.857),(40,42.143),(38.572,42.143),(38.572,45),(44.286,45),(44.286,42.143),(42.857,42.143),(42.857,27.857),(44.286,27.857),(44.286,25)],
  [(85.715,25),(85.715,45),(100.001,45),(100.001,42.143),(88.572,42.143),(88.572,36.429),(94.286,36.429),(94.286,33.571),(88.572,33.571),(88.572,27.857),(100.001,27.857),(100.001,25)],
  [(154.287,25),(154.287,45),(168.573,45),(168.573,42.143),(157.144,42.143),(157.144,36.429),(162.858,36.429),(162.858,33.571),(157.144,33.571),(157.144,27.857),(168.573,27.857),(168.573,25)],
  [(394.289,25),(394.289,45),(408.575,45),(408.575,42.143),(397.146,42.143),(397.146,36.429),(402.86,36.429),(402.86,33.571),(397.146,33.571),(397.146,27.857),(408.575,27.857),(408.575,25)],
  [(127.144,25),(124.287,27.857),(124.287,42.143),(127.144,45),(131.43,45),(131.43,42.143),(128.572,42.143),(127.144,40.714),(127.144,29.286),(128.572,27.857),(131.43,27.857),(131.43,25)],
  [(174.287,25),(174.287,27.857),(177.144,27.857),(178.573,29.286),(178.573,40.714),(177.144,42.143),(174.287,42.143),(174.287,45),(178.573,45),(181.43,42.143),(181.43,27.857),(178.573,25)],
  [(205.716,25),(205.716,45),(208.573,45),(208.573,29.286),(210.002,29.286),(212.859,32.143),(215.716,29.286),(217.145,29.286),(217.145,45),(220.002,45),(220.002,25),(215.716,25),(212.859,27.857),(210.002,25)],
  [(242.859,25),(240.002,27.857),(240.002,42.143),(242.859,45),(251.431,45),(254.288,42.143),(254.288,39.286),(251.431,39.286),(251.431,40.714),(250.002,42.143),(244.288,42.143),(242.859,40.714),(242.859,29.286),(244.288,27.857),(250.002,27.857),(251.431,29.286),(251.431,33.571),(247.145,33.571),(247.145,36.429),(254.288,36.429),(254.288,27.857),(251.431,25)],
  [(260.002,25),(257.145,27.857),(257.145,45),(260.002,45),(260.002,29.286),(261.431,27.857),(267.145,27.857),(268.574,29.286),(268.574,45),(271.431,45),(271.431,27.857),(268.574,25)],
  [(274.288,25),(274.288,40.714),(278.574,45),(284.288,45),(287.145,42.143),(280.002,42.143),(277.145,39.286),(277.145,35),(285.717,35),(285.717,39.286),(282.859,42.143),(287.145,42.143),(288.574,40.714),(288.574,25),(285.717,25),(285.717,32.143),(277.145,32.143),(277.145,25)],
  [(345.717,25),(342.86,27.857),(342.86,30.714),(345.717,30.714),(345.717,29.286),(347.146,27.857),(352.86,27.857),(354.289,29.286),(354.289,32.143),(352.86,33.571),(345.717,33.571),(342.86,36.429),(342.86,42.143),(345.717,45),(354.289,45),(357.146,42.143),(357.146,39.286),(354.289,39.286),(354.289,40.714),(352.86,42.143),(347.146,42.143),(345.717,40.714),(345.717,37.857),(347.146,36.429),(354.289,36.429),(357.146,33.571),(357.146,27.857),(354.289,25)],
  [(382.86,25),(382.86,42.143),(377.146,42.143),(377.146,45),(391.432,45),(391.432,42.143),(385.717,42.143),(385.717,25)])
mis_cv_block.add(gdstk.Reference(misv2_s50_f1, (320,-320)))
mis_cv_block.add(gdstk.Reference(misv2_s200_f4, (1050,-1245)))
mis_cv_block.add(gdstk.Reference(misv2_s100_f1, (850,-345)))
mis_cv_block.add(gdstk.Reference(misv2_open_s100, (1655,-1195)))
mis_cv_block.add(gdstk.Reference(misv2_s100_f4, (1405,-345)))
mis_cv_block.add(gdstk.Reference(misv2_s100_f8, (1960,-345)))
mis_cv_block.add(gdstk.Reference(misv2_s200_f1, (395,-1245)))
mis_cv_block.add(gdstk.Reference(misv2_short_s100, (2170.855,-1195)))

lib.write_gds('MIS_CV_Block.gds')
